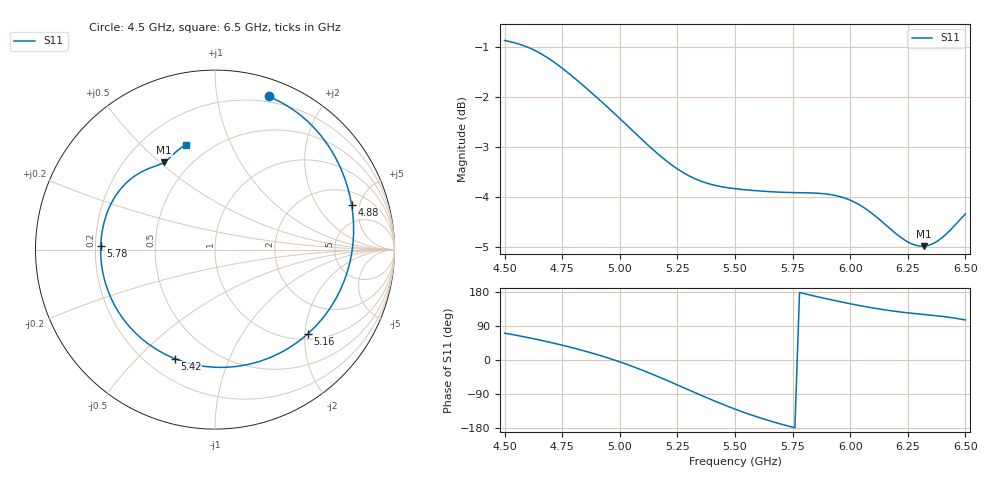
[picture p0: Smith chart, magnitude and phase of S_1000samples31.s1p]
! TOUCHSTONE file generated by CST MICROWAVE STUDIO
! Date and time: Wed Oct 26 18:18:02 2022
! Project name: L.cst
! Parameters = {Di=1.27; Epsilon_r=1.56; InnerDiameter=1.27; Length=2; Lf=10; Lg=60; OuterConductorThickness=0.2921; OuterDiameter=3.6; Wf=3; Wp=41.2; de=1.5; df=6.8; g=0.8; gx=4.08913; gy=0.882969; h=2.34; hf=1.524; px=12.2044; py=10.7093; w=9.7; wx=8.11532; wy=9.82633}
! Header version: 2018
! Port assignment regex: !\s*Touchstone port\s*([0-9]+)\s*=\s*(CST MWS port|CST DS port)\s*([0-9]+|Zmin|Zmax)\s*\(\"(.*)\"\)(\s*mode\s*([0-9]+))?.*
! Touchstone port assignment:
! Touchstone port 1 = CST MWS port 1 ("")
# GHz S DB R 50
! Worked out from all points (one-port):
!   101 points, 4.5 GHz to 6.5 GHz, reference 50 ohm
!   lowest |S11| = -5.0 dB at 6.32 GHz (marker M1), VSWR 3.58, Z = 18.1 + j25.9 ohm
!   |S11| at or under -10 dB: nowhere
!   S11 on the Smith chart (normalised r, x): 4.5 GHz: 0.15, +1.40; 4.88 GHz: 3.02, +4.18; 5.16 GHz: 1.12, -2.07; 5.42 GHz: 0.31, -0.65; 5.78 GHz: 0.22, +0.02; 6.5 GHz: 0.37, +0.69
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4.5  -0.87 70.7
4.62  -1.05 56.8
4.68  -1.20 48.9
4.76  -1.46 37.5
4.82  -1.69 28.2
4.88  -1.93 18.1
4.94  -2.18 7.1
5  -2.43 -5.0
5.08  -2.78 -22.8
5.16  -3.12 -42.3
5.22  -3.34 -57.9
5.26  -3.47 -68.5
5.3  -3.58 -79.1
5.34  -3.66 -89.8
5.42  -3.78 -110.4
5.5  -3.84 -129.6
5.56  -3.86 -142.8
5.62  -3.89 -154.8
5.68  -3.90 -165.7
5.76  -3.91 -178.8
5.78  -3.92 178.1
5.88  -3.93 163.9
6  -4.06 148.5
6.12  -4.42 135.2
6.26  -4.92 123.8
6.32  -4.98 120.1
6.42  -4.73 113.4
6.5  -4.34 105.7
